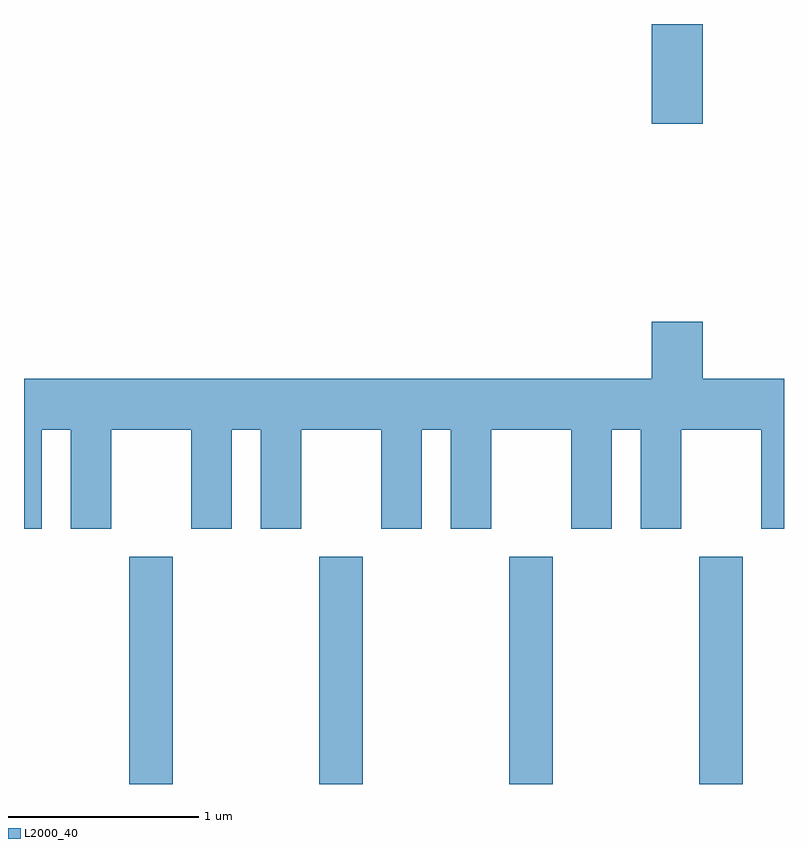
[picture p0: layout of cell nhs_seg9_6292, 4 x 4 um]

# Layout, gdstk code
import gdstk
lib = gdstk.Library(unit=1e-6, precision=1e-09)
def R(c, l, rs):  # rectangles x0, y0, x1, y1
    for r in rs: c.add(gdstk.rectangle(r[:2], r[2:], *l))
def A(c, l, x, y, w, h, nx, ny, dx, dy):  # array of equal rectangles
    R(c, l, [(x+i*dx, y+j*dy, x+i*dx+w, y+j*dy+h) for i in range(nx) for j in range(ny)])
def P(c, l, *ps):  # polygons
    for p in ps: c.add(gdstk.Polygon(p, *l))
L2000_40 = (2000, 40)

nhs_seg9_6292 = lib.new_cell('nhs_seg9_6292')
A(nhs_seg9_6292, L2000_40, 372.166, 1954.432, 0.228, 1.197, 4, 1, 1, 0)
R(nhs_seg9_6292, L2000_40, [(374.916,1957.906,375.184,1958.432)])
P(nhs_seg9_6292, L2000_40, [(371.704,1956.296),(371.856,1956.296),(371.856,1955.776),(372.069,1955.776),(372.069,1956.296),(372.491,1956.296),(372.491,1955.776),(372.704,1955.776),(372.704,1956.296),(372.856,1956.296),(372.856,1955.776),(373.069,1955.776),(373.069,1956.296),(373.491,1956.296),(373.491,1955.776),(373.704,1955.776),(373.704,1956.296),(373.856,1956.296),(373.856,1955.776),(374.069,1955.776),(374.069,1956.296),(374.491,1956.296),(374.491,1955.776),(374.704,1955.776),(374.704,1956.296),(374.856,1956.296),(374.856,1955.776),(375.069,1955.776),(375.069,1956.296),(375.491,1956.296),(375.491,1955.776),(375.611,1955.776),(375.611,1956.564),(375.184,1956.564),(375.184,1956.864),(374.916,1956.864),(374.916,1956.564),(371.611,1956.564),(371.611,1955.776),(371.704,1955.776)])

lib.write_gds('nhs_seg9_6292.gds')
